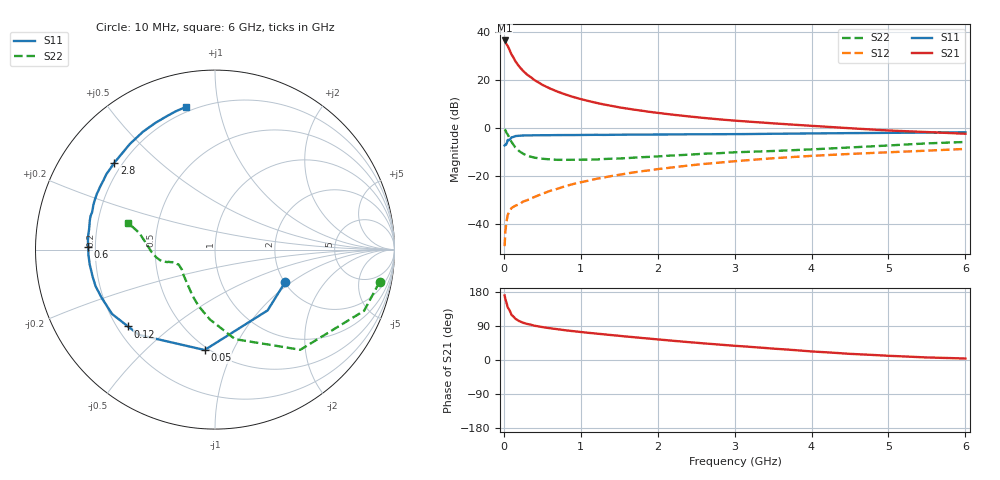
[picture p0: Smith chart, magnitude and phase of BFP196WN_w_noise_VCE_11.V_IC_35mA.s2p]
! Infineon Technologies  Discrete & RF Semiconductors
! BFP196WN
! VCE =  11. V,  IC =  35 mA
! Common Emitter S-Parameters:  Jan 2017
# GHz  S  MA  R  50
!  f  S11  S21  S12  S22
! GHz  MAG  ANG  MAG  ANG  MAG  ANG  MAG  ANG
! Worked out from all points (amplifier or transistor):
!   77 points, 10 MHz to 6 GHz, reference 50 ohm
!   highest |S21| = 36.5 dB at 10 MHz (marker M1)
!   |S21| within 3 dB of that: start of sweep to 60.53 MHz
!   unconditionally stable (mu >= 1): 789 MHz to 2.714 GHz
!   at 130 MHz: K = 0.43, MSG = 31.0 dB, |S12| = -32.8 dB
!   at 2.2 GHz: K = 1.03, MAG = 10.0 dB, |S12| = -16.4 dB
!   at 6 GHz: K = 0.89, MSG = 3.2 dB, |S12| = -8.8 dB
!   lowest NFmin = 1.11 dB at 450 MHz
!   S11 on the Smith chart (normalised r, x): 10 MHz: 2.03, -0.89; 50 MHz: 0.48, -0.78; 120 MHz: 0.24, -0.36; 600 MHz: 0.17, +0.01; 2.8 GHz: 0.17, +0.36; 6 GHz: 0.17, +0.81
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0.01  0.431 -24.6  67.09 170.5  0.0034 74.8  0.9346 -11.1
0.02  0.448 -49.1  62.72 160.7  0.007 72.4  0.898 -22.3
0.05  0.5624 -95.9  51.53 138.8  0.0152 55.8  0.7331 -49.6
0.1  0.637 -131.8  34.16 118.8  0.0213 46.2  0.5111 -77.4
0.12  0.6465 -138.5  30.31 115.5  0.0223 45.4  0.4585 -83.0
0.15  0.6764 -147.9  24.78 108.8  0.0238 44.3  0.3906 -94.1
0.2  0.6862 -156.9  19.13 102.6  0.0254 46.3  0.328 -106.1
0.25  0.6959 -162.9  15.55 98.4  0.029 47.4  0.2908 -114.6
0.3  0.6982 -167.4  13.07 95.3  0.0308 49.7  0.2642 -121.9
0.4  0.7031 -173.3  9.93 90.4  0.0363 54.2  0.2395 -131.8
0.5  0.7056 -177.6  7.972 86.9  0.0421 57.1  0.2277 -139.2
0.6  0.7062 179.0  6.663 83.8  0.0485 59.9  0.2205 -144.6
0.7  0.7095 176.2  5.709 81.2  0.0539 61.9  0.2157 -148.3
0.8  0.7107 173.4  5.002 78.4  0.0609 63.4  0.2158 -150.7
1.1  0.7158 167.1  3.649 71.8  0.0795 64.8  0.218 -156.8
1.5  0.7221 159.8  2.695 63.8  0.105 65.1  0.2302 -161.2
2.1  0.7303 149.8  1.975 52.6  0.1443 62.8  0.2607 -164.6
2.8  0.741 139.2  1.511 40.7  0.1888 58.7  0.2973 -166.8
3.1  0.7444 134.7  1.385 36.2  0.2078 56.3  0.3139 -169.6
4.1  0.7709 120.2  1.082 21.4  0.266 48.7  0.3633 179.7
5.1  0.7917 109.3  0.871 10.3  0.3153 41.4  0.4393 167.1
6  0.812 101.3  0.756 3.9  0.3648 35.4  0.5091 163.2
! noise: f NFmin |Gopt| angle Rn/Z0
0.45  1.11  0.47  179  0.05
0.9  1.24  0.53  186  0.05
1.9  2.17  0.68  212  0.13
2.4  2.91  0.69  219  0.25
